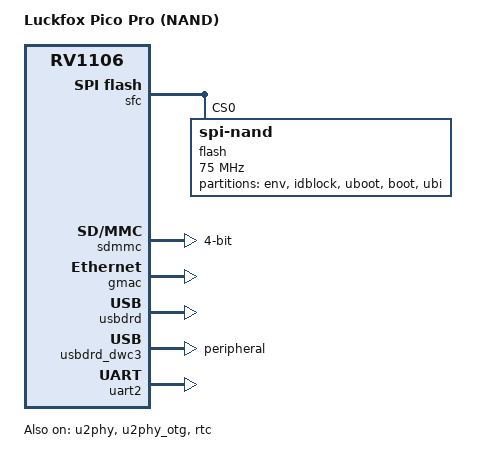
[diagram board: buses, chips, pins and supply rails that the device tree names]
// SPDX-License-Identifier: (GPL-2.0+ OR MIT)
/*
 * Copyright (c) 2022 Rockchip Electronics Co., Ltd.
 */

/dts-v1/;

#include "rv1106.dtsi"
#include "rv1106-evb.dtsi"
#include "rv1106-luckfox-pico-pro-max-ipc.dtsi"

/ {
	model = "Luckfox Pico Pro (NAND)";
	/* Max is hardware-compatible (same peripherals, differs only in RAM size handled by DDR init blob) */
	compatible = "luckfox,rv1106-luckfox-pico-pro-nand", "luckfox,rv1106-luckfox-pico-pro", "rockchip,rv1106g-luckfox-pico-max", "rockchip,rv1106";

	/* Override ipc.dtsi bootargs: TB SPL loads the kernel directly (no U-Boot proper),
	 * so the kernel reads bootargs from this chosen node — it cannot be set via env. */
	chosen {
		bootargs = "earlycon=uart8250,mmio32,0xff4c0000 console=ttyS2,1500000n8 loglevel=8 ignore_loglevel ubi.mtd=ubi ubi.block=0,rootfs root=/dev/ubiblock0_0 rootfstype=squashfs ro rootwait rk_dma_heap_cma=40M";
	};
};

/**********FLASH**********/
/* Partitions declared via fixed-partitions so Linux creates MTDs by label.
 * U-Boot names the flash "spi-nand0" while Linux uses the SPI bus name;
 * label-based ubi.mtd=ubi matching works regardless of the parent MTD name. */
&sfc {
	status = "okay";
	flash@0 {
		compatible = "spi-nand";
		reg = <0>;
		spi-max-frequency = <75000000>;
		spi-rx-bus-width = <4>;
		spi-tx-bus-width = <1>;

		partitions {
			compatible = "fixed-partitions";
			#address-cells = <1>;
			#size-cells = <1>;

			partition@0 {
				label = "env";
				reg = <0x000000 0x040000>;
			};
			partition@40000 {
				label = "idblock";
				reg = <0x040000 0x080000>;
			};
			partition@c0000 {
				label = "uboot";
				reg = <0x0c0000 0x080000>;
			};
			partition@140000 {
				label = "boot";
				reg = <0x140000 0x600000>;
			};
			partition@740000 {
				label = "ubi";
				reg = <0x740000 0x78c0000>;
			};
		};
	};
};

/**********SDMMC**********/
&sdmmc {
	max-frequency = <50000000>;
	no-sdio;
	no-mmc;
	bus-width = <4>;
	cap-mmc-highspeed;
	cap-sd-highspeed;
	disable-wp;
	pinctrl-names = "default";
	pinctrl-0 = <&sdmmc0_clk &sdmmc0_cmd &sdmmc0_det &sdmmc0_bus4>;
	status = "okay";
};

/**********ETH**********/
&gmac {
	status = "okay";
};

/**********USB**********/
&u2phy {
	status = "okay";
};

&u2phy_otg {
	rockchip,dis-u2-susphy;
	status = "okay";
};

&usbdrd {
	status = "okay";
};

&usbdrd_dwc3 {
	status = "okay";
	dr_mode = "peripheral";
};

/**********SPI**********/
&spi0 {
	status = "disabled";
	spidev@0 {
		spi-max-frequency = <50000000>;
	};
  fbtft@0 {
		spi-max-frequency = <50000000>;
  };
};

/**********I2C**********/
/* I2C3_M1 */
&i2c3 {
	status = "disabled";
	clock-frequency = <100000>;
};

/* I2C1_M1 */
&i2c1 {
	status = "disabled";
	clock-frequency = <100000>;
};

/**********UART**********/
/* UART2_M1 — debug console; must be enabled so the 8250 driver claims the
 * UART2 clock before clk_disable_unused() runs, keeping the console alive. */
&uart2 {
	status = "okay";
};

/* UART3_M1 */
&uart3 {
	status = "disabled";
};

/* UART4_M1 */
&uart4 {
	status = "disabled";
};

/**********RTC**********/
&rtc {
	status = "okay";
};
